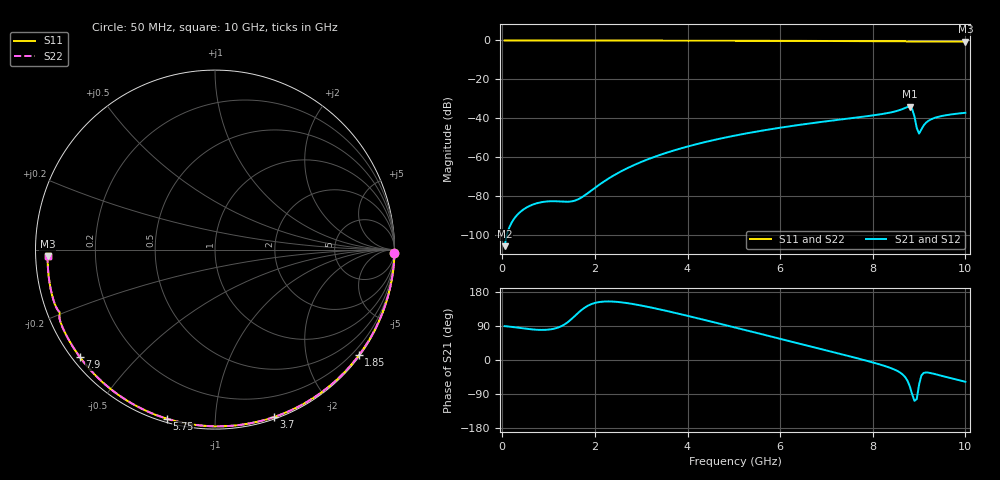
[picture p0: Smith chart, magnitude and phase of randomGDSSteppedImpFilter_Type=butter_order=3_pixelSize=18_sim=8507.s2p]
! freq	dB(S11)	phase(S11)	dB(S12)	phase(S12)
!  dB(S21)	phase(S21)	dB(S22)	phase(S22)
!S-par simulation data
#  GHz  S  DB  R 50
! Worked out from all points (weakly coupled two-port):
!   200 points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, 50 MHz to 10 GHz, reference 50 ohm
!   highest |S21| = -33.99 dB at 8.8 GHz (marker M1); lowest = -105.5 dB at 50 MHz (marker M2)
!   lowest |S11| = -0.6 dB at 10 GHz (marker M3), VSWR 28.98, Z = 1.73 - j1.02 ohm
!   |S11| at or under -10 dB: nowhere
!   |S22| runs from -0.6 to 0.0 dB; largest |S21 - S12| = 0
!   S11 on the Smith chart (normalised r, x): 50 MHz: open; 1.85 GHz: 0.03, -3.05; 3.7 GHz: 0.02, -1.41; 5.75 GHz: 0.02, -0.75; 7.9 GHz: 0.02, -0.35; 10 GHz: 0.03, -0.02
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0.05  -0.00 -1.0  -105.55 89.4  -105.55 89.4  -0.00 -1.0
0.85  -0.02 -16.9  -82.96 79.4  -82.96 79.4  -0.02 -16.9
1.75  -0.04 -34.4  -79.96 135.6  -79.96 135.6  -0.04 -34.4
1.85  -0.05 -36.3  -78.29 143.3  -78.29 143.3  -0.05 -36.3
2.2  -0.05 -43.0  -72.30 154.3  -72.30 154.3  -0.05 -43.0
2.55  -0.06 -49.6  -67.35 152.5  -67.35 152.5  -0.06 -49.6
3.4  -0.09 -65.2  -58.77 133.6  -58.77 133.6  -0.09 -65.2
3.7  -0.10 -70.6  -56.47 125.2  -56.47 125.2  -0.10 -70.6
5.05  -0.15 -94.1  -48.68 85.0  -48.68 85.0  -0.15 -94.2
5.75  -0.18 -105.9  -45.71 63.6  -45.71 63.6  -0.18 -106.0
6.7  -0.24 -121.6  -42.39 34.5  -42.39 34.5  -0.24 -121.7
7.9  -0.34 -141.4  -38.78 -3.0  -38.78 -3.0  -0.34 -141.5
8.35  -0.38 -149.0  -37.12 -19.5  -37.12 -19.5  -0.38 -149.1
8.8  -0.52 -157.1  -33.99 -69.6  -33.99 -69.6  -0.53 -157.2
8.85  -0.58 -157.7  -35.18 -90.3  -35.18 -90.3  -0.58 -157.8
8.9  -0.59 -158.1  -39.00 -107.9  -39.00 -107.9  -0.59 -158.2
8.95  -0.56 -158.7  -44.93 -103.1  -44.93 -103.1  -0.56 -158.8
9  -0.53 -159.5  -47.79 -64.8  -47.79 -64.8  -0.54 -159.6
9.1  -0.51 -161.3  -43.56 -34.1  -43.56 -34.1  -0.51 -161.4
9.25  -0.51 -164.0  -40.57 -34.4  -40.57 -34.4  -0.51 -164.1
9.5  -0.54 -168.5  -38.71 -42.1  -38.71 -42.1  -0.54 -168.6
10  -0.60 -177.7  -37.12 -57.5  -37.12 -57.5  -0.60 -177.8
